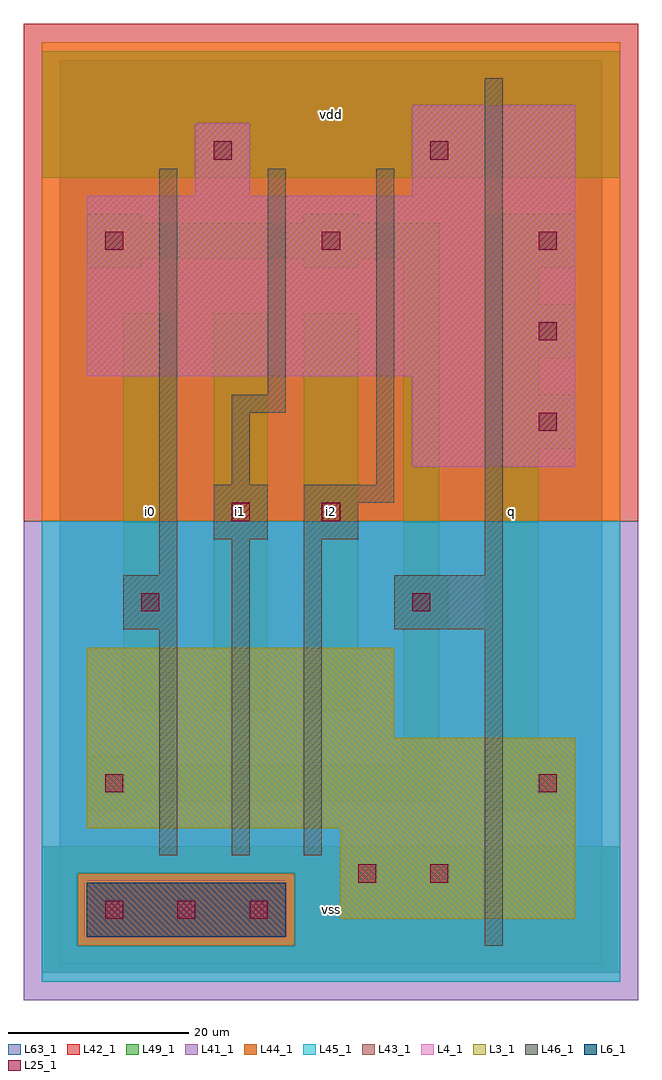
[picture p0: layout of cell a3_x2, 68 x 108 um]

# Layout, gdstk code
import gdstk
lib = gdstk.Library(unit=1e-6, precision=1e-09)
def R(c, l, rs):  # rectangles x0, y0, x1, y1
    for r in rs: c.add(gdstk.rectangle(r[:2], r[2:], *l))
def A(c, l, x, y, w, h, nx, ny, dx, dy):  # array of equal rectangles
    R(c, l, [(x+i*dx, y+j*dy, x+i*dx+w, y+j*dy+h) for i in range(nx) for j in range(ny)])
L3_1 = (3, 1)
L4_1 = (4, 1)
L6_1 = (6, 1)
L25_1 = (25, 1)
L41_1 = (41, 1)
L42_1 = (42, 1)
L43_1 = (43, 1)
L44_1 = (44, 1)
L45_1 = (45, 1)
L46_1 = (46, 1)
L49_1 = (49, 1)
L63_1 = (63, 1)

a3_x2 = lib.new_cell('a3_x2')
R(a3_x2, L3_1, [(31,5,57,15), (3,15,57,25), (3,25,37,35)])
R(a3_x2, L4_1, [(39,55,57,65), (3,65,57,85), (15,85,21,93), (39,85,57,95)])
R(a3_x2, L6_1, [(3,3,25,9)])
A(a3_x2, L25_1, 5, 5, 2, 2, 3, 1, 8, 0)
A(a3_x2, L25_1, 5, 79, 2, 2, 3, 1, 24, 0)
R(a3_x2, L25_1, [(33,9,35,11), (41,9,43,11), (5,19,7,21), (53,19,55,21), (9,39,11,41), (39,39,41,41), (19,49,21,51), (29,49,31,51), (53,59,55,61), (53,69,55,71), (17,89,19,91), (41,89,43,91)])
R(a3_x2, L41_1, [(-4,-4,64,49)])
R(a3_x2, L42_1, [(-4,49,64,104)])
R(a3_x2, L43_1, [(3,3,25,9), (31,5,57,15), (3,15,57,25), (3,25,37,35), (39,55,57,65), (3,65,57,85), (15,85,21,93), (39,85,57,95)])
R(a3_x2, L44_1, [(2,2,26,10), (-2,49,62,102)])
R(a3_x2, L45_1, [(-2,-2,62,2), (-2,2,2,10), (26,2,62,10), (-2,10,62,49)])
R(a3_x2, L46_1, [(47,2,49,37), (11,12,13,37), (19,12,21,47), (27,12,29,47), (7,37,13,43), (37,37,49,43), (11,43,13,88), (47,43,49,98), (17,47,23,53), (27,47,33,51), (27,51,37,53), (19,53,21,61), (35,53,37,88), (19,61,25,63), (23,63,25,88)])
A(a3_x2, L49_1, 7, 28, 6, 44, 3, 1, 10, 0)
A(a3_x2, L49_1, 47, 57, 10, 6, 1, 3, 0, 10)
R(a3_x2, L49_1, [(-2,-1,62,13), (3,17,9,18), (47,17,57,23), (3,18,42,22), (3,22,9,23), (38,22,42,37), (47,23,53,57), (37,37,43,43), (38,43,42,78), (47,63,53,67), (47,73,53,77), (3,77,9,78), (27,77,33,78), (3,78,42,82), (3,82,9,83), (27,82,33,83), (-2,87,62,101)])
R(a3_x2, L63_1, [(0,0,60,100)])
a3_x2.add(gdstk.Label('i0', (10,50), layer=49, texttype=1))
a3_x2.add(gdstk.Label('i0', (10,50), layer=49, texttype=1))
a3_x2.add(gdstk.Label('i1', (20,50), layer=49, texttype=1))
a3_x2.add(gdstk.Label('i1', (20,50), layer=49, texttype=1))
a3_x2.add(gdstk.Label('vss', (30,6), layer=49, texttype=1))
a3_x2.add(gdstk.Label('vss', (30,6), layer=49, texttype=1))
a3_x2.add(gdstk.Label('i2', (30,50), layer=49, texttype=1))
a3_x2.add(gdstk.Label('i2', (30,50), layer=49, texttype=1))
a3_x2.add(gdstk.Label('vdd', (30,94), layer=49, texttype=1))
a3_x2.add(gdstk.Label('vdd', (30,94), layer=49, texttype=1))
a3_x2.add(gdstk.Label('q', (50,50), layer=49, texttype=1))
a3_x2.add(gdstk.Label('q', (50,50), layer=49, texttype=1))

lib.write_gds('a3_x2.gds')
